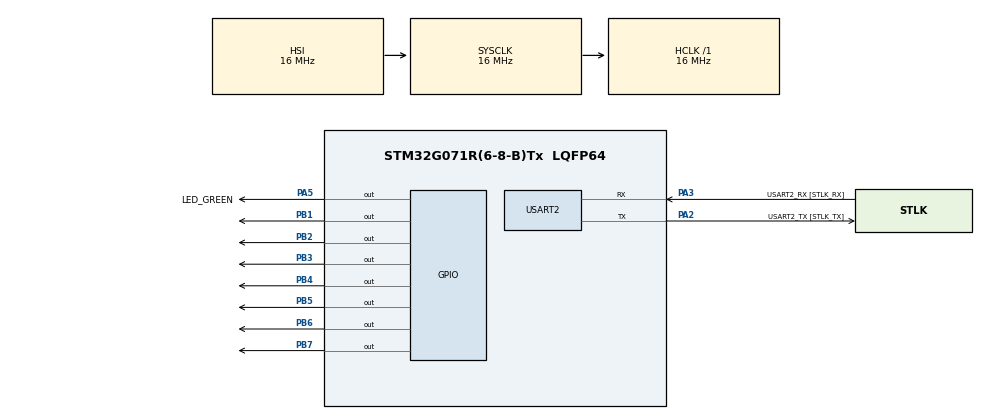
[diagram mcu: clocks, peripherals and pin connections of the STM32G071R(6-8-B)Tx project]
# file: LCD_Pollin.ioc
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Mcu.Family=STM32G0
Mcu.Name=STM32G071R(6-8-B)Tx
Mcu.Package=LQFP64
PA13.GPIO_Label=TMS
PA13.Mode=Serial_Wire
PA13.Signal=SYS_SWDIO
PA14-BOOT0.GPIO_Label=TCK
PA14-BOOT0.Mode=Serial_Wire
PA14-BOOT0.Signal=SYS_SWCLK
PA2.GPIO_Label=USART2_TX [STLK_TX]
PA2.GPIO_PuPd=GPIO_PULLUP
PA2.Mode=Asynchronous
PA2.Signal=USART2_TX
PA3.GPIO_Label=USART2_RX [STLK_RX]
PA3.GPIO_PuPd=GPIO_PULLUP
PA3.Mode=Asynchronous
PA3.Signal=USART2_RX
PA5.GPIO_Label=LED_GREEN
PA5.GPIO_Speed=GPIO_SPEED_FREQ_HIGH
PA5.Signal=GPIO_Output
PB1.Signal=GPIO_Output
PB2.Signal=GPIO_Output
PB3.Signal=GPIO_Output
PB4.Signal=GPIO_Output
PB5.Signal=GPIO_Output
PB6.Signal=GPIO_Output
PB7.Signal=GPIO_Output
PC13.Mode=SYS_WakeUp1
PC13.Signal=SYS_WKUP2
PC14-OSC32_IN\ (PC14).Mode=LSE-External-Oscillator
PC14-OSC32_IN\ (PC14).Signal=RCC_OSC32_IN
PC15-OSC32_OUT\ (PC15).Mode=LSE-External-Oscillator
PC15-OSC32_OUT\ (PC15).Signal=RCC_OSC32_OUT
PF0-OSC_IN\ (PF0).GPIO_Label=MCO
PF0-OSC_IN\ (PF0).Mode=HSE-External-Oscillator
PF0-OSC_IN\ (PF0).Signal=RCC_OSC_IN
PF1-OSC_OUT\ (PF1).Mode=HSE-External-Oscillator
PF1-OSC_OUT\ (PF1).Signal=RCC_OSC_OUT
ProjectManager.HeapSize=0x200
ProjectManager.StackSize=0x400
ProjectManager.TargetToolchain=STM32CubeIDE
RCC.AHBFreq_Value=16000000
RCC.CortexFreq_Value=16000000
RCC.EXTERNAL_CLOCK_VALUE=12288000
RCC.HCLKFreq_Value=16000000
RCC.HSE_VALUE=8000000
RCC.HSI_VALUE=16000000
RCC.SYSCLKFreq_VALUE=16000000
RCC.VCOOutputFreq_Value=128000000
TIM1.Period=0xffff
TIM1.Prescaler=16
USART2.VirtualMode-Asynchronous=VM_ASYNC
VP_SYS_VS_DBSignals.Mode=DisableDeadBatterySignals
VP_TIM1_VS_ClockSourceINT.Mode=Internal
board=NUCLEO-G071RB

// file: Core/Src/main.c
/* USER CODE BEGIN Header */
/**
  ******************************************************************************
  * @file           : main.c
  * @brief          : Main program body
  ******************************************************************************
  * @attention
  *
  * <h2><center>&copy; Copyright (c) 2020 STMicroelectronics.
  * All rights reserved.</center></h2>
  *
  * This software component is licensed by ST under BSD 3-Clause license,
  * the "License"; You may not use this file except in compliance with the
  * License. You may obtain a copy of the License at:
  *                        opensource.org/licenses/BSD-3-Clause
  *
  ******************************************************************************
  */
/* USER CODE END Header */

#include "main.h"
#include "LCD1602.h"
#include"stdio.h"

TIM_HandleTypeDef htim1;

UART_HandleTypeDef huart2;

/* USER CODE BEGIN PV */

unsigned long lastTime=0;
double Input=99.5, Output, Setpoint;
double errSum, lastErr;
double kp, ki, kd;

/* USER CODE END PV */

void SystemClock_Config(void);
static void MX_GPIO_Init(void);
static void MX_USART2_UART_Init(void);
static void MX_TIM1_Init(void);

void SetTunings(double Kp, double Ki, double Kd);
void Compute(void);

void int_to_char_sendLCD(int wert);

int main(void)
{

  /* MCU Configuration--------------------------------------------------------*/

  /* Reset of all peripherals, Initializes the Flash interface and the Systick. */

  HAL_Init();
  SetTunings(1, 1, 1); // kp, ki, kd setzen

  /* Configure the system clock */
  SystemClock_Config();

  /* Initialize all configured peripherals */
  MX_GPIO_Init();
  MX_USART2_UART_Init();
  MX_TIM1_Init();
  /* USER CODE BEGIN 2 */
  HAL_TIM_Base_Start(&htim1);

  lcd_init();

  /* USER CODE END 2 */

  /* Infinite loop */
  /* USER CODE BEGIN WHILE */
  while (1)
  {
	  Input+=0.001;
	  Setpoint = 100;
	  Compute();

	  lcd_put_cur(0, 0);
	  lcd_send_string("Output: ");
	  lcd_put_cur(0, 8);
	  int_to_char_sendLCD(Output);
	  HAL_Delay(20);
	  lcd_clear();

    /* USER CODE END WHILE */

  }
}

void int_to_char_sendLCD(int wert)
{
	char num_arr[10];
	uint32_t num = wert;
	sprintf (num_arr, "%u", num);
	lcd_send_string(num_arr);
}

void Compute()
{
   /*How long since we last calculated*/
   unsigned long now = HAL_GetTick();
   double timeChange = (double)(now - lastTime);

   /*Compute all the working error variables*/
   double error = Setpoint - Input;
   errSum += (error * timeChange);
   double dErr = (error - lastErr) / timeChange;

   /*Compute PID Output*/
   Output = kp * error + ki * errSum + kd * dErr;

   /*Remember some variables for next time*/
   lastErr = error;
   lastTime = now;
}

void SetTunings(double Kp, double Ki, double Kd)
{
   kp = Kp;
   ki = Ki;
   kd = Kd;
}

void SystemClock_Config(void)
{
  RCC_OscInitTypeDef RCC_OscInitStruct = {0};
  RCC_ClkInitTypeDef RCC_ClkInitStruct = {0};
  RCC_PeriphCLKInitTypeDef PeriphClkInit = {0};

  /** Configure the main internal regulator output voltage
  */
  HAL_PWREx_ControlVoltageScaling(PWR_REGULATOR_VOLTAGE_SCALE1);
  /** Initializes the CPU, AHB and APB busses clocks
  */
  RCC_OscInitStruct.OscillatorType = RCC_OSCILLATORTYPE_HSI;
  RCC_OscInitStruct.HSIState = RCC_HSI_ON;
  RCC_OscInitStruct.HSIDiv = RCC_HSI_DIV1;
  RCC_OscInitStruct.HSICalibrationValue = RCC_HSICALIBRATION_DEFAULT;
  RCC_OscInitStruct.PLL.PLLState = RCC_PLL_NONE;
  if (HAL_RCC_OscConfig(&RCC_OscInitStruct) != HAL_OK)
  {
    Error_Handler();
  }
  /** Initializes the CPU, AHB and APB busses clocks
  */
  RCC_ClkInitStruct.ClockType = RCC_CLOCKTYPE_HCLK|RCC_CLOCKTYPE_SYSCLK
                              |RCC_CLOCKTYPE_PCLK1;
  RCC_ClkInitStruct.SYSCLKSource = RCC_SYSCLKSOURCE_HSI;
  RCC_ClkInitStruct.AHBCLKDivider = RCC_SYSCLK_DIV1;
  RCC_ClkInitStruct.APB1CLKDivider = RCC_HCLK_DIV1;

  if (HAL_RCC_ClockConfig(&RCC_ClkInitStruct, FLASH_LATENCY_0) != HAL_OK)
  {
    Error_Handler();
  }
  /** Initializes the peripherals clocks
  */
  PeriphClkInit.PeriphClockSelection = RCC_PERIPHCLK_USART2|RCC_PERIPHCLK_TIM1;
  PeriphClkInit.Usart2ClockSelection = RCC_USART2CLKSOURCE_PCLK1;
  PeriphClkInit.Tim1ClockSelection = RCC_TIM1CLKSOURCE_PCLK1;
  if (HAL_RCCEx_PeriphCLKConfig(&PeriphClkInit) != HAL_OK)
  {
    Error_Handler();
  }
}

static void MX_TIM1_Init(void)
{

  TIM_ClockConfigTypeDef sClockSourceConfig = {0};
  TIM_MasterConfigTypeDef sMasterConfig = {0};
  TIM_BreakDeadTimeConfigTypeDef sBreakDeadTimeConfig = {0};

  htim1.Instance = TIM1;
  htim1.Init.Prescaler = 16;
  htim1.Init.CounterMode = TIM_COUNTERMODE_UP;
  htim1.Init.Period = 0xffff;
  htim1.Init.ClockDivision = TIM_CLOCKDIVISION_DIV1;
  htim1.Init.RepetitionCounter = 0;
  htim1.Init.AutoReloadPreload = TIM_AUTORELOAD_PRELOAD_DISABLE;
  if (HAL_TIM_Base_Init(&htim1) != HAL_OK)
  {
    Error_Handler();
  }
  sClockSourceConfig.ClockSource = TIM_CLOCKSOURCE_INTERNAL;
  if (HAL_TIM_ConfigClockSource(&htim1, &sClockSourceConfig) != HAL_OK)
  {
    Error_Handler();
  }
  sMasterConfig.MasterOutputTrigger = TIM_TRGO_RESET;
  sMasterConfig.MasterOutputTrigger2 = TIM_TRGO2_RESET;
  sMasterConfig.MasterSlaveMode = TIM_MASTERSLAVEMODE_DISABLE;
  if (HAL_TIMEx_MasterConfigSynchronization(&htim1, &sMasterConfig) != HAL_OK)
  {
    Error_Handler();
  }
  sBreakDeadTimeConfig.BreakAFMode = TIM_BREAK_AFMODE_INPUT;
  sBreakDeadTimeConfig.Break2AFMode = TIM_BREAK_AFMODE_INPUT;
  if (HAL_TIMEx_ConfigBreakDeadTime(&htim1, &sBreakDeadTimeConfig) != HAL_OK)
  {
    Error_Handler();
  }

}

static void MX_USART2_UART_Init(void)
{

  huart2.Instance = USART2;
  huart2.Init.BaudRate = 115200;
  huart2.Init.WordLength = UART_WORDLENGTH_8B;
  huart2.Init.StopBits = UART_STOPBITS_1;
  huart2.Init.Parity = UART_PARITY_NONE;
  huart2.Init.Mode = UART_MODE_TX_RX;
  huart2.Init.HwFlowCtl = UART_HWCONTROL_NONE;
  huart2.Init.OverSampling = UART_OVERSAMPLING_16;
  huart2.Init.OneBitSampling = UART_ONE_BIT_SAMPLE_DISABLE;
  huart2.Init.ClockPrescaler = UART_PRESCALER_DIV1;
  huart2.AdvancedInit.AdvFeatureInit = UART_ADVFEATURE_NO_INIT;
  if (HAL_UART_Init(&huart2) != HAL_OK)
  {
    Error_Handler();
  }
  if (HAL_UARTEx_SetTxFifoThreshold(&huart2, UART_TXFIFO_THRESHOLD_1_8) != HAL_OK)
  {
    Error_Handler();
  }
  if (HAL_UARTEx_SetRxFifoThreshold(&huart2, UART_RXFIFO_THRESHOLD_1_8) != HAL_OK)
  {
    Error_Handler();
  }
  if (HAL_UARTEx_DisableFifoMode(&huart2) != HAL_OK)
  {
    Error_Handler();
  }

}

static void MX_GPIO_Init(void)
{
  GPIO_InitTypeDef GPIO_InitStruct = {0};

  /* GPIO Ports Clock Enable */
  __HAL_RCC_GPIOC_CLK_ENABLE();
  __HAL_RCC_GPIOF_CLK_ENABLE();
  __HAL_RCC_GPIOA_CLK_ENABLE();
  __HAL_RCC_GPIOB_CLK_ENABLE();

  /*Configure GPIO pin Output Level */
  HAL_GPIO_WritePin(LED_GREEN_GPIO_Port, LED_GREEN_Pin, GPIO_PIN_RESET);

  /*Configure GPIO pin Output Level */
  HAL_GPIO_WritePin(GPIOB, GPIO_PIN_1|GPIO_PIN_2|GPIO_PIN_3|GPIO_PIN_4
                          |GPIO_PIN_5|GPIO_PIN_6|GPIO_PIN_7, GPIO_PIN_RESET);

  /*Configure GPIO pin : LED_GREEN_Pin */
  GPIO_InitStruct.Pin = LED_GREEN_Pin;
  GPIO_InitStruct.Mode = GPIO_MODE_OUTPUT_PP;
  GPIO_InitStruct.Pull = GPIO_NOPULL;
  GPIO_InitStruct.Speed = GPIO_SPEED_FREQ_HIGH;
  HAL_GPIO_Init(LED_GREEN_GPIO_Port, &GPIO_InitStruct);

  /*Configure GPIO pins : PB1 PB2 PB3 PB4
                           PB5 PB6 PB7 */
  GPIO_InitStruct.Pin = GPIO_PIN_1|GPIO_PIN_2|GPIO_PIN_3|GPIO_PIN_4
                          |GPIO_PIN_5|GPIO_PIN_6|GPIO_PIN_7;
  GPIO_InitStruct.Mode = GPIO_MODE_OUTPUT_PP;
  GPIO_InitStruct.Pull = GPIO_NOPULL;
  GPIO_InitStruct.Speed = GPIO_SPEED_FREQ_LOW;
  HAL_GPIO_Init(GPIOB, &GPIO_InitStruct);

}

void Error_Handler(void)
{
}

/************************ (C) COPYRIGHT STMicroelectronics *****END OF FILE****/
